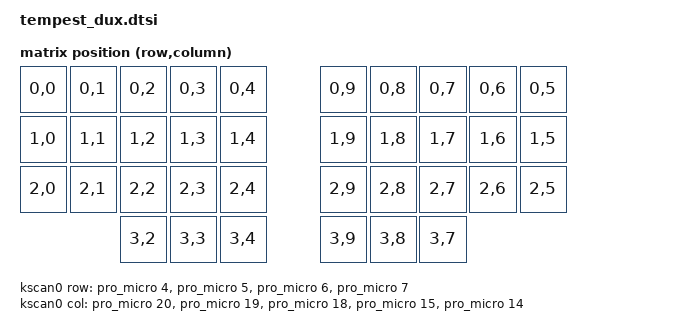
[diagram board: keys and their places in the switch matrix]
/*
 * Tempest Dux shared configuration (both halves).
 *
 * All pins verified against the v0.6.56 KiCad netlist (MCU1 pads 101-124):
 *   rows:  pro_micro 4/5/6/7   = row_top / row_home / row_bottom / row_thumb
 *   cols:  pro_micro 20/19/18/15/14 = col_pinky / ring / middle / index / inner
 *   PMW3610: SCLK P1.06 (pm9), SDIO P1.04 (pm8, 3-wire), nCS P0.09 (pm10),
 *            MOTION P0.31 (pm21, R1 pull-up DNP -> internal pull-up)
 *   display: stock nice_view_adapter pins (CS P0.06, MOSI P0.17, SCK P0.20)
 *
 * The ceoloide reversible MCU footprint cross-connects on B.Cu, so the same
 * pro_micro numbers carry the matrix and trackball on both halves.
 */

#include <dt-bindings/zmk/matrix_transform.h>
#include <dt-bindings/pinctrl/nrf-pinctrl.h>
#include <zephyr/dt-bindings/input/input-event-codes.h>

/ {
    chosen {
        zmk,physical-layout = &default_layout;
    };

    default_layout: physical_layout0 {
        compatible = "zmk,physical-layout";
        display-name = "Default";
        transform = <&default_transform>;
        kscan = <&kscan0>;
    };

    default_transform: keymap_transform0 {
        compatible = "zmk,matrix-transform";
        columns = <10>;
        rows = <4>;
        // Emits minidox.h order: 3x10 alphas, then thumbs L near->far, R far->near.
        // Right half is the mirrored reversible board, so its row entries run 9->5.
        // VERIFY on hardware: if a left thumb fires the wrong miryoku thumb,
        // reverse the three RC(3,x) left entries and mirror the right.
        map = <
RC(0,0) RC(0,1) RC(0,2) RC(0,3) RC(0,4)    RC(0,9) RC(0,8) RC(0,7) RC(0,6) RC(0,5)
RC(1,0) RC(1,1) RC(1,2) RC(1,3) RC(1,4)    RC(1,9) RC(1,8) RC(1,7) RC(1,6) RC(1,5)
RC(2,0) RC(2,1) RC(2,2) RC(2,3) RC(2,4)    RC(2,9) RC(2,8) RC(2,7) RC(2,6) RC(2,5)
                RC(3,2) RC(3,3) RC(3,4)    RC(3,9) RC(3,8) RC(3,7)
        >;
    };

    kscan0: kscan0 {
        compatible = "zmk,kscan-gpio-matrix";
        diode-direction = "col2row";
        wakeup-source;

        // col2row: rows are sensed inputs, cols are strobed outputs
        row-gpios
            = <&pro_micro 4 (GPIO_ACTIVE_HIGH | GPIO_PULL_DOWN)>   // row_top
            , <&pro_micro 5 (GPIO_ACTIVE_HIGH | GPIO_PULL_DOWN)>   // row_home
            , <&pro_micro 6 (GPIO_ACTIVE_HIGH | GPIO_PULL_DOWN)>   // row_bottom
            , <&pro_micro 7 (GPIO_ACTIVE_HIGH | GPIO_PULL_DOWN)>   // row_thumb
            ;

        col-gpios
            = <&pro_micro 20 GPIO_ACTIVE_HIGH>   // col_pinky   (col 0)
            , <&pro_micro 19 GPIO_ACTIVE_HIGH>   // col_ring    (col 1)
            , <&pro_micro 18 GPIO_ACTIVE_HIGH>   // col_middle  (col 2)
            , <&pro_micro 15 GPIO_ACTIVE_HIGH>   // col_index   (col 3)
            , <&pro_micro 14 GPIO_ACTIVE_HIGH>   // col_inner   (col 4)
            ;
    };

    // Local trackball -> pointer events. Enabled per-half in the overlays.
    trackball_listener: trackball_listener {
        compatible = "zmk,input-listener";
        status = "disabled";
        device = <&trackball>;
    };

    // Forwarding channel for the peripheral half's trackball.
    split_inputs {
        #address-cells = <1>;
        #size-cells = <0>;

        trackball_split: trackball_split@0 {
            compatible = "zmk,input-split";
            reg = <0>;
        };
    };

    // Central-side listener for events arriving over the split link.
    trackball_split_listener: trackball_split_listener {
        compatible = "zmk,input-listener";
        status = "disabled";
        device = <&trackball_split>;
    };
};

// PMW3610 on its own SPI bus (spi1) so it never collides with the
// display on spi0/pro_micro_spi (left half).
&pinctrl {
    spi1_trackball_default: spi1_trackball_default {
        group1 {
            psels = <NRF_PSEL(SPIM_SCK,  1, 6)>,   // PMW_SCLK  P1.06 / pm9
                    <NRF_PSEL(SPIM_MOSI, 1, 4)>,   // PMW_SDIO  P1.04 / pm8
                    <NRF_PSEL(SPIM_MISO, 1, 4)>;   // same pin: 3-wire SDIO
        };
    };

    spi1_trackball_sleep: spi1_trackball_sleep {
        group1 {
            psels = <NRF_PSEL(SPIM_SCK,  1, 6)>,
                    <NRF_PSEL(SPIM_MOSI, 1, 4)>,
                    <NRF_PSEL(SPIM_MISO, 1, 4)>;
            low-power-enable;
        };
    };
};

&spi1 {
    status = "okay";
    compatible = "nordic,nrf-spim";
    pinctrl-0 = <&spi1_trackball_default>;
    pinctrl-1 = <&spi1_trackball_sleep>;
    pinctrl-names = "default", "sleep";
    cs-gpios = <&pro_micro 10 GPIO_ACTIVE_LOW>;   // PMW_CS / P0.09

    trackball: trackball@0 {
        status = "okay";
        compatible = "pixart,pmw3610-alt";
        reg = <0>;
        spi-max-frequency = <2000000>;
        // MOTION is active-low; on-board R1 pull-up is DNP -> internal pull-up
        irq-gpios = <&pro_micro 21 (GPIO_ACTIVE_LOW | GPIO_PULL_UP)>;
        cpi = <600>;
        evt-type = <INPUT_EV_REL>;
        x-input-code = <INPUT_REL_X>;
        y-input-code = <INPUT_REL_Y>;
        // VERIFY orientation on first roll; flip as needed:
        // swap-xy; invert-x; invert-y;
    };
};
